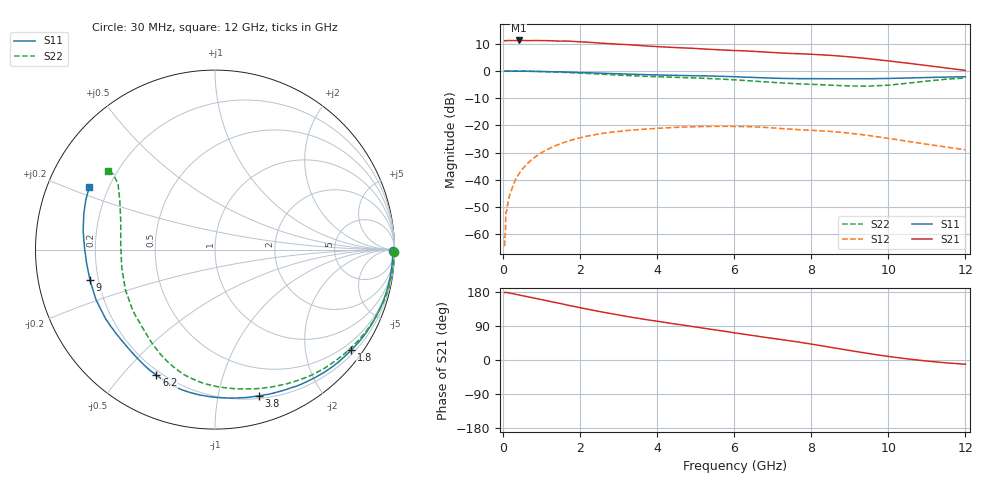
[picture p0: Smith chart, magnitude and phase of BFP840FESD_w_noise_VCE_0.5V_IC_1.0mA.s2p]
! Infineon Technologies  Discrete & RF Semiconductors
! BFP840FESD
! VCE =  0.5 V,  IC =  1.0 mA
! Common Emitter S-Parameters:  May 2012
# GHz  S  MA  R  50
!  f  S11  S21  S12  S22
! GHz  MAG  ANG  MAG  ANG  MAG  ANG  MAG  ANG
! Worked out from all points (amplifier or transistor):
!   103 points, 30 MHz to 12 GHz, reference 50 ohm
!   highest |S21| = 11.2 dB at 400 MHz (marker M1)
!   |S21| within 3 dB of that: start of sweep to 5.042 GHz
!   unconditionally stable (mu >= 1): 8.771 GHz to end of sweep
!   at 400 MHz: K = 0.00, MSG = 24.6 dB, |S12| = -38.0 dB
!   at 3.7 GHz: K = 0.19, MSG = 15.3 dB, |S12| = -21.4 dB
!   at 12 GHz: K = 1.91, MAG = 9.1 dB, |S12| = -29.0 dB
!   lowest NFmin = 0.57 dB at 450 MHz
!   S11 on the Smith chart (normalised r, x): 30 MHz: open; 1.8 GHz: 0.29, -3.01; 3.8 GHz: 0.22, -1.32; 6.2 GHz: 0.18, -0.62; 9 GHz: 0.17, -0.12; 12 GHz: 0.13, +0.23
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0.03  0.9908 -0.6  3.602 177.7  0.0006 104.1  0.9987 -0.7
0.04  0.9905 -0.8  3.579 177.6  0.001 105.9  0.9988 -0.9
0.05  0.9904 -1.0  3.58 178.9  0.001 113.3  1 -1.1
0.06  0.9909 -1.3  3.58 178.7  0.0023 72.0  0.9993 -1.2
0.1  0.99 -2.0  3.619 177.9  0.0034 89.5  0.9986 -2.2
0.25  0.99 -5.1  3.621 174.9  0.0078 84.5  0.9974 -5.3
0.4  0.9879 -8.2  3.634 171.7  0.0126 82.9  0.9948 -8.6
0.7  0.9832 -14.2  3.607 165.4  0.0223 77.7  0.9864 -15.0
1.1  0.9721 -22.4  3.605 157.0  0.0348 70.0  0.9688 -23.8
1.8  0.9436 -36.5  3.493 142.0  0.0543 56.5  0.9242 -39.4
2.1  0.9301 -42.5  3.407 135.8  0.0616 51.0  0.9031 -46.0
3.1  0.8793 -61.0  3.076 116.8  0.0788 34.2  0.8325 -66.2
3.8  0.8509 -73.4  2.85 105.2  0.0862 24.3  0.7922 -78.4
4.1  0.841 -78.7  2.775 100.6  0.0888 20.5  0.7793 -83.1
4.9  0.8183 -93.1  2.61 88.5  0.094 10.5  0.7468 -95.2
6.1  0.7769 -113.3  2.365 70.3  0.0952 -4.3  0.6789 -112.7
6.2  0.7723 -115.0  2.347 68.7  0.0948 -5.6  0.6718 -114.2
7.1  0.7329 -130.5  2.164 55.5  0.0886 -15.9  0.6092 -128.4
8.5  0.7193 -157.3  1.934 33.5  0.0771 -26.8  0.5471 -155.8
9  0.7172 -166.2  1.814 25.0  0.0717 -31.1  0.5295 -168.6
10.5  0.7423 171.8  1.389 2.9  0.0508 -36.2  0.595 153.0
12  0.7814 153.7  1.021 -11.2  0.0356 -25.3  0.7409 143.7
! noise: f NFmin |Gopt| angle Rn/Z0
0.45  0.57  0.78  7  0.51
0.9  0.66  0.77  14  0.5
1.5  0.78  0.72  22  0.45
1.9  0.84  0.68  29  0.43
2.4  0.91  0.66  37  0.43
3.5  0.99  0.63  56  0.39
5.5  1.2  0.52  89  0.28
8  1.7  0.46  149  0.18
10  1.98  0.47  -173  0.14
12  2.15  0.62  -141  0.18
